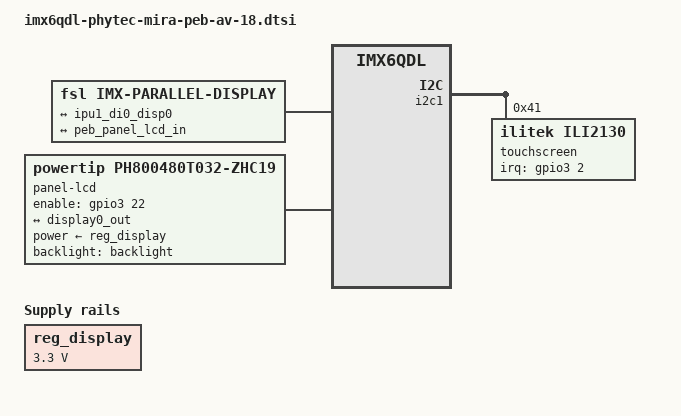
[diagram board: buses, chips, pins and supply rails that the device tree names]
// SPDX-License-Identifier: (GPL-2.0+ OR MIT)
/*
 * Copyright (C) 2026 PHYTEC Messtechnik GmbH
 * Author: Florijan Plohl <florijan.plohl@norik.com>
 */

#include <dt-bindings/gpio/gpio.h>
#include <dt-bindings/interrupt-controller/irq.h>

&{/} {

	display {
		#address-cells = <1>;
		#size-cells = <0>;
		compatible = "fsl,imx-parallel-display";
		pinctrl-names = "default";
		pinctrl-0 = <&pinctrl_disp0>;
		interface-pix-fmt = "rgb24";
		status = "okay";

		port@0 {
			reg = <0>;

			display0_in: endpoint {
				remote-endpoint = <&ipu1_di0_disp0>;
			};
		};

		port@1 {
			reg = <1>;

			display0_out: endpoint {
				remote-endpoint = <&peb_panel_lcd_in>;
			};
		};
	};

	panel-lcd {
		compatible = "powertip,ph800480t032-zhc19";
		pinctrl-names = "default";
		pinctrl-0 = <&pinctrl_disp0_pwr>;
		backlight = <&backlight>;
		enable-gpios = <&gpio3 22 GPIO_ACTIVE_HIGH>;
		power-supply = <&reg_display>;
		status = "okay";

		port {
			peb_panel_lcd_in: endpoint {
				remote-endpoint = <&display0_out>;
			};
		};
	};

	reg_display: regulator-peb-display {
		compatible = "regulator-fixed";
		regulator-name = "peb-display";
		regulator-min-microvolt = <3300000>;
		regulator-max-microvolt = <3300000>;
	};
};

&i2c1 {
	touchscreen@41 {
		compatible = "ilitek,ili2130";
		reg = <0x41>;
		pinctrl-names = "default";
		pinctrl-0 = <&pinctrl_touchscreen>;
		interrupt-parent = <&gpio3>;
		interrupts = <2 IRQ_TYPE_EDGE_FALLING>;
		touchscreen-size-x = <800>;
		touchscreen-size-y = <480>;
		wakeup-source;
		status = "okay";
	};
};

&ipu1_di0_disp0 {
	remote-endpoint = <&display0_in>;
};

&iomuxc {
	pinctrl_disp0: disp0grp {
		fsl,pins = <
			MX6QDL_PAD_DI0_DISP_CLK__IPU1_DI0_DISP_CLK	0x10
			MX6QDL_PAD_DI0_PIN2__IPU1_DI0_PIN02		0x10
			MX6QDL_PAD_DI0_PIN3__IPU1_DI0_PIN03		0x10
			MX6QDL_PAD_DI0_PIN15__IPU1_DI0_PIN15		0x10
			MX6QDL_PAD_DISP0_DAT0__IPU1_DISP0_DATA00	0x10
			MX6QDL_PAD_DISP0_DAT1__IPU1_DISP0_DATA01	0x10
			MX6QDL_PAD_DISP0_DAT2__IPU1_DISP0_DATA02	0x10
			MX6QDL_PAD_DISP0_DAT3__IPU1_DISP0_DATA03	0x10
			MX6QDL_PAD_DISP0_DAT4__IPU1_DISP0_DATA04	0x10
			MX6QDL_PAD_DISP0_DAT5__IPU1_DISP0_DATA05	0x10
			MX6QDL_PAD_DISP0_DAT6__IPU1_DISP0_DATA06	0x10
			MX6QDL_PAD_DISP0_DAT7__IPU1_DISP0_DATA07	0x10
			MX6QDL_PAD_DISP0_DAT8__IPU1_DISP0_DATA08	0x10
			MX6QDL_PAD_DISP0_DAT9__IPU1_DISP0_DATA09	0x10
			MX6QDL_PAD_DISP0_DAT10__IPU1_DISP0_DATA10	0x10
			MX6QDL_PAD_DISP0_DAT11__IPU1_DISP0_DATA11	0x10
			MX6QDL_PAD_DISP0_DAT12__IPU1_DISP0_DATA12	0x10
			MX6QDL_PAD_DISP0_DAT13__IPU1_DISP0_DATA13	0x10
			MX6QDL_PAD_DISP0_DAT14__IPU1_DISP0_DATA14	0x10
			MX6QDL_PAD_DISP0_DAT15__IPU1_DISP0_DATA15	0x10
			MX6QDL_PAD_DISP0_DAT16__IPU1_DISP0_DATA16	0x10
			MX6QDL_PAD_DISP0_DAT17__IPU1_DISP0_DATA17	0x10
			MX6QDL_PAD_DISP0_DAT18__IPU1_DISP0_DATA18	0x10
			MX6QDL_PAD_DISP0_DAT19__IPU1_DISP0_DATA19	0x10
			MX6QDL_PAD_DISP0_DAT20__IPU1_DISP0_DATA20	0x10
			MX6QDL_PAD_DISP0_DAT21__IPU1_DISP0_DATA21	0x10
			MX6QDL_PAD_DISP0_DAT22__IPU1_DISP0_DATA22	0x10
			MX6QDL_PAD_DISP0_DAT23__IPU1_DISP0_DATA23	0x10
		>;
	};

	pinctrl_disp0_pwr: disp0pwrgrp {
		fsl,pins = <
			MX6QDL_PAD_EIM_D22__GPIO3_IO22			0x1b0b0
		>;
	};

	pinctrl_touchscreen: touchscreengrp {
		fsl,pins = <
			MX6QDL_PAD_EIM_DA2__GPIO3_IO02			0xb0b1
		>;
	};
};
